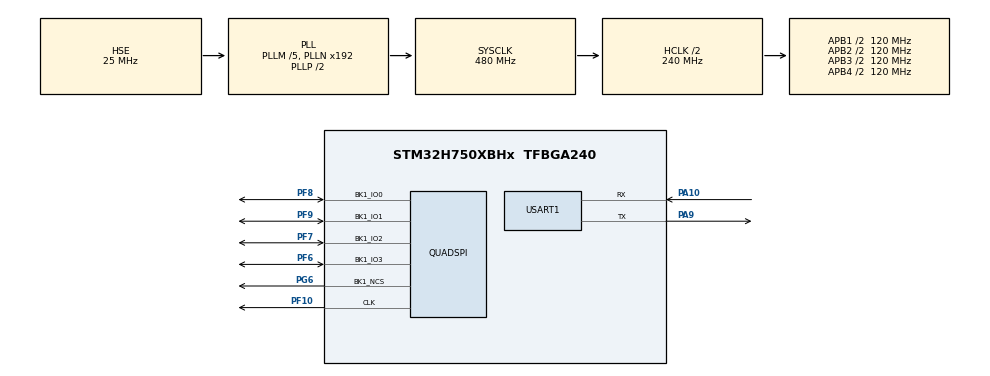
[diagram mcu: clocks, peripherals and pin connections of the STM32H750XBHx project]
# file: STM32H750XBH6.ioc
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Mcu.Family=STM32H7
Mcu.Name=STM32H750XBHx
Mcu.Package=TFBGA240
NVIC.PriorityGroup=NVIC_PRIORITYGROUP_4
PA10.GPIO_Speed=GPIO_SPEED_FREQ_VERY_HIGH
PA10.Mode=Asynchronous
PA10.Signal=USART1_RX
PA9.GPIO_Speed=GPIO_SPEED_FREQ_VERY_HIGH
PA9.Mode=Asynchronous
PA9.Signal=USART1_TX
PF10.GPIO_Speed=GPIO_SPEED_FREQ_VERY_HIGH
PF10.Mode=Single Bank 1
PF10.Signal=QUADSPI_CLK
PF6.GPIO_Speed=GPIO_SPEED_FREQ_VERY_HIGH
PF6.Mode=Single Bank 1
PF6.Signal=QUADSPI_BK1_IO3
PF7.GPIO_Speed=GPIO_SPEED_FREQ_VERY_HIGH
PF7.Mode=Single Bank 1
PF7.Signal=QUADSPI_BK1_IO2
PF8.GPIO_Speed=GPIO_SPEED_FREQ_VERY_HIGH
PF8.Mode=Single Bank 1
PF8.Signal=QUADSPI_BK1_IO0
PF9.GPIO_Speed=GPIO_SPEED_FREQ_VERY_HIGH
PF9.Mode=Single Bank 1
PF9.Signal=QUADSPI_BK1_IO1
PG6.GPIO_Speed=GPIO_SPEED_FREQ_VERY_HIGH
PG6.Mode=Single Bank 1
PG6.Signal=QUADSPI_BK1_NCS
PH0-OSC_IN\ (PH0).Mode=HSE-External-Oscillator
PH0-OSC_IN\ (PH0).Signal=RCC_OSC_IN
PH1-OSC_OUT\ (PH1).Mode=HSE-External-Oscillator
PH1-OSC_OUT\ (PH1).Signal=RCC_OSC_OUT
ProjectManager.HeapSize=0x200
ProjectManager.StackSize=0x400
ProjectManager.TargetToolchain=CMake
QUADSPI.ClockMode=QSPI_CLOCK_MODE_3
QUADSPI.ClockPrescaler=1
QUADSPI.FifoThreshold=32
QUADSPI.FlashSize=24
QUADSPI.SampleShifting=QSPI_SAMPLE_SHIFTING_HALFCYCLE
RCC.ADCFreq_Value=50390625
RCC.APB1Freq_Value=120000000
RCC.APB2Freq_Value=120000000
RCC.APB3Freq_Value=120000000
RCC.APB4Freq_Value=120000000
RCC.CortexFreq_Value=480000000
RCC.D1PPRE=RCC_APB3_DIV2
RCC.D2PPRE1=RCC_APB1_DIV2
RCC.D2PPRE2=RCC_APB2_DIV2
RCC.D3PPRE=RCC_APB4_DIV2
RCC.DIVM1=5
RCC.DIVN1=192
RCC.HCLKFreq_Value=240000000
RCC.HPRE=RCC_HCLK_DIV2
RCC.PLLSourceVirtual=RCC_PLLSOURCE_HSE
RCC.SYSCLKFreq_VALUE=480000000
RCC.SYSCLKSource=RCC_SYSCLKSOURCE_PLLCLK
RCC.USBFreq_Value=480000000
USART1.VirtualMode-Asynchronous=VM_ASYNC
board=custom

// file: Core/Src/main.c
/* USER CODE BEGIN Header */
/**
  ******************************************************************************
  * @file           : main.c
  * @brief          : Main program body
  ******************************************************************************
  * @attention
  *
  * Copyright (c) 2024 STMicroelectronics.
  * All rights reserved.
  *
  * This software is licensed under terms that can be found in the LICENSE file
  * in the root directory of this software component.
  * If no LICENSE file comes with this software, it is provided AS-IS.
  *
  ******************************************************************************
  */
/* USER CODE END Header */
#include "main.h"

/* USER CODE BEGIN Includes */
#include "../../Drivers/User/Inc/led.h"
#include "../../Drivers/User/Inc/usart.h"
#include "../../Drivers/User/Inc/qspi_w25q256.h"

/* USER CODE END Includes */

QSPI_HandleTypeDef hqspi;

UART_HandleTypeDef huart1;

void SystemClock_Config(void);
static void MX_GPIO_Init(void);
static void MX_USART1_UART_Init(void);
static void MX_QUADSPI_Init(void);

/* USER CODE BEGIN 0 */

typedef  void (*pFunction)(void);

pFunction JumpToApplication;

/* USER CODE END 0 */

int main(void)
{

  /* USER CODE BEGIN 1 */

	SCB_EnableICache();		// 使能ICache
	SCB_EnableDCache();		// 使能DCache

  /* USER CODE END 1 */

  /* MCU Configuration--------------------------------------------------------*/

  /* Reset of all peripherals, Initializes the Flash interface and the Systick. */
  HAL_Init();

  /* Configure the system clock */
  SystemClock_Config();

  /* Initialize all configured peripherals */
  MX_GPIO_Init();
  MX_USART1_UART_Init();
  MX_QUADSPI_Init();
  /* USER CODE BEGIN 2 */
	LED_Init();					// 初始化LED引脚
	QSPI_W25Qxx_Init();	   // 初始化W25Q64
  /* USER CODE END 2 */

  /* Infinite loop */
  /* USER CODE BEGIN WHILE */

	printf("\r\n***************************************\r\n");

	QSPI_W25Qxx_MemoryMappedMode(); 	 // 配置QSPI为内存映射模式

	SCB_DisableICache();		// 关闭ICache
	SCB_DisableDCache();		// 关闭Dcache

	SysTick->CTRL = 0;		// 关闭SysTick
	SysTick->LOAD = 0;		// 清零重载值
	SysTick->VAL = 0;			// 清零计数值

	JumpToApplication = (pFunction) (*(__IO uint32_t*) (W25Qxx_Mem_Addr + 4));	// 设置起始地址
	__set_MSP(*(__IO uint32_t*) W25Qxx_Mem_Addr);	// 设置主堆栈指针
	printf("跳转到W25Q256运行用户程序>>>\r\n\r\n");

	JumpToApplication();			// 执行跳转

  while (1)
  {
    /* USER CODE END WHILE */

  }
}

void SystemClock_Config(void)
{
  RCC_OscInitTypeDef RCC_OscInitStruct = {0};
  RCC_ClkInitTypeDef RCC_ClkInitStruct = {0};

  /** Supply configuration update enable
  */
  HAL_PWREx_ConfigSupply(PWR_LDO_SUPPLY);

  /** Configure the main internal regulator output voltage
  */
  __HAL_PWR_VOLTAGESCALING_CONFIG(PWR_REGULATOR_VOLTAGE_SCALE0);

  while(!__HAL_PWR_GET_FLAG(PWR_FLAG_VOSRDY)) {}

  /** Initializes the RCC Oscillators according to the specified parameters
  * in the RCC_OscInitTypeDef structure.
  */
  RCC_OscInitStruct.OscillatorType = RCC_OSCILLATORTYPE_HSE;
  RCC_OscInitStruct.HSEState = RCC_HSE_ON;
  RCC_OscInitStruct.PLL.PLLState = RCC_PLL_ON;
  RCC_OscInitStruct.PLL.PLLSource = RCC_PLLSOURCE_HSE;
  RCC_OscInitStruct.PLL.PLLM = 5;
  RCC_OscInitStruct.PLL.PLLN = 192;
  RCC_OscInitStruct.PLL.PLLP = 2;
  RCC_OscInitStruct.PLL.PLLQ = 2;
  RCC_OscInitStruct.PLL.PLLR = 2;
  RCC_OscInitStruct.PLL.PLLRGE = RCC_PLL1VCIRANGE_2;
  RCC_OscInitStruct.PLL.PLLVCOSEL = RCC_PLL1VCOWIDE;
  RCC_OscInitStruct.PLL.PLLFRACN = 0;
  if (HAL_RCC_OscConfig(&RCC_OscInitStruct) != HAL_OK)
  {
    Error_Handler();
  }

  /** Initializes the CPU, AHB and APB buses clocks
  */
  RCC_ClkInitStruct.ClockType = RCC_CLOCKTYPE_HCLK|RCC_CLOCKTYPE_SYSCLK
                              |RCC_CLOCKTYPE_PCLK1|RCC_CLOCKTYPE_PCLK2
                              |RCC_CLOCKTYPE_D3PCLK1|RCC_CLOCKTYPE_D1PCLK1;
  RCC_ClkInitStruct.SYSCLKSource = RCC_SYSCLKSOURCE_PLLCLK;
  RCC_ClkInitStruct.SYSCLKDivider = RCC_SYSCLK_DIV1;
  RCC_ClkInitStruct.AHBCLKDivider = RCC_HCLK_DIV2;
  RCC_ClkInitStruct.APB3CLKDivider = RCC_APB3_DIV2;
  RCC_ClkInitStruct.APB1CLKDivider = RCC_APB1_DIV2;
  RCC_ClkInitStruct.APB2CLKDivider = RCC_APB2_DIV2;
  RCC_ClkInitStruct.APB4CLKDivider = RCC_APB4_DIV2;

  if (HAL_RCC_ClockConfig(&RCC_ClkInitStruct, FLASH_LATENCY_4) != HAL_OK)
  {
    Error_Handler();
  }
}

static void MX_QUADSPI_Init(void)
{

  /* QUADSPI parameter configuration*/
  hqspi.Instance = QUADSPI;
  hqspi.Init.ClockPrescaler = 1;
  hqspi.Init.FifoThreshold = 32;
  hqspi.Init.SampleShifting = QSPI_SAMPLE_SHIFTING_HALFCYCLE;
  hqspi.Init.FlashSize = 24;
  hqspi.Init.ChipSelectHighTime = QSPI_CS_HIGH_TIME_1_CYCLE;
  hqspi.Init.ClockMode = QSPI_CLOCK_MODE_3;
  hqspi.Init.FlashID = QSPI_FLASH_ID_1;
  hqspi.Init.DualFlash = QSPI_DUALFLASH_DISABLE;
  if (HAL_QSPI_Init(&hqspi) != HAL_OK)
  {
    Error_Handler();
  }

}

static void MX_USART1_UART_Init(void)
{

  huart1.Instance = USART1;
  huart1.Init.BaudRate = 115200;
  huart1.Init.WordLength = UART_WORDLENGTH_8B;
  huart1.Init.StopBits = UART_STOPBITS_1;
  huart1.Init.Parity = UART_PARITY_NONE;
  huart1.Init.Mode = UART_MODE_TX_RX;
  huart1.Init.HwFlowCtl = UART_HWCONTROL_NONE;
  huart1.Init.OverSampling = UART_OVERSAMPLING_16;
  huart1.Init.OneBitSampling = UART_ONE_BIT_SAMPLE_DISABLE;
  huart1.Init.ClockPrescaler = UART_PRESCALER_DIV1;
  huart1.AdvancedInit.AdvFeatureInit = UART_ADVFEATURE_NO_INIT;
  if (HAL_UART_Init(&huart1) != HAL_OK)
  {
    Error_Handler();
  }
  if (HAL_UARTEx_SetTxFifoThreshold(&huart1, UART_TXFIFO_THRESHOLD_1_8) != HAL_OK)
  {
    Error_Handler();
  }
  if (HAL_UARTEx_SetRxFifoThreshold(&huart1, UART_RXFIFO_THRESHOLD_1_8) != HAL_OK)
  {
    Error_Handler();
  }
  if (HAL_UARTEx_DisableFifoMode(&huart1) != HAL_OK)
  {
    Error_Handler();
  }

}

static void MX_GPIO_Init(void)
{

  /* GPIO Ports Clock Enable */
  __HAL_RCC_GPIOA_CLK_ENABLE();
  __HAL_RCC_GPIOG_CLK_ENABLE();
  __HAL_RCC_GPIOH_CLK_ENABLE();
  __HAL_RCC_GPIOF_CLK_ENABLE();

}

void Error_Handler(void)
{
  __disable_irq();
  while (1)
  {
  }
}
